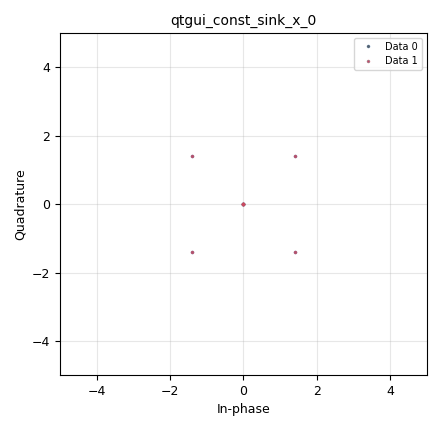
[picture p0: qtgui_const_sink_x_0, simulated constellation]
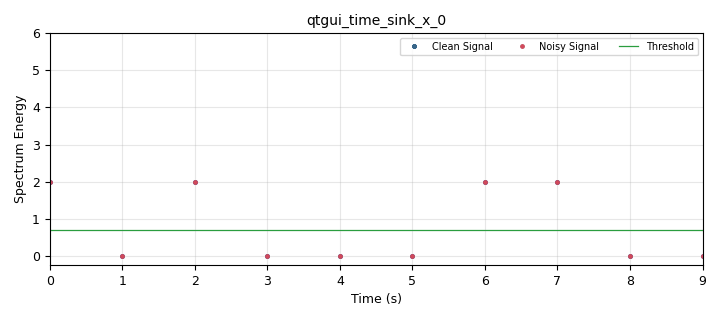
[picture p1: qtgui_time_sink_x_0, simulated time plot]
options:
  parameters:
    author: Osaze Shears
    generate_options: qt_gui
    id: dfr
    output_language: python
    title: Spectrum Energy
  states: {}

blocks:
- name: noise_level
  id: variable_qtgui_range
  parameters:
    label: Noise Level
    start: '0'
    step: '0.01'
    stop: '5'
    value: '0'
  states: {}
- name: qpsk_constellation
  id: variable_constellation
  parameters:
    const_points: '[-1-1j, -1+1j, 1+1j, 1-1j, 0,0,0,0]'
    dims: '1'
    normalization: digital.constellation.AMPLITUDE_NORMALIZATION
    precision: '8'
    rot_sym: '4'
    sym_map: '[0, 1, 3, 2, 4,5,6,7]'
    type: calcdist
  states: {}
- name: samp_rate
  id: variable
  parameters:
    value: '1'
  states: {}
- name: analog_const_source_x_0
  id: analog_const_source_x
  parameters:
    const: '0.705'
    type: float
  states: {}
- name: analog_noise_source_x_0
  id: analog_noise_source_x
  parameters:
    amp: noise_level
    noise_type: analog.GR_GAUSSIAN
    seed: '0'
    type: complex
  states: {}
- name: analog_random_source_x_0
  id: analog_random_source_x
  parameters:
    max: '8'
    min: '0'
    num_samps: '1000'
    repeat: 'True'
    type: byte
  states: {}
- name: blocks_add_xx_0
  id: blocks_add_xx
  parameters:
    type: complex
  states: {}
- name: digital_constellation_encoder_bc_1
  id: digital_constellation_encoder_bc
  parameters:
    constellation: qpsk_constellation
  states: {}
- name: epy_block_0
  id: epy_block
  parameters:
    Feedback_Scale: '0.4'
    Input_Gain: '0.5'
    Mask_Max: '0.5'
    Mask_Min: '-0.5'
    Mask_Type: '''Uniform'''
    Random_Seed: '0'
    Virtual_Nodes: '50'
    _source_code: |
      """
      Embedded Python Blocks:

      Each time this file is saved, GRC will instantiate the first class it finds
      to get ports and parameters of your block. The arguments to __init__  will
      be the parameters. All of them are required to have default values!
      """

      import numpy as np
      from gnuradio import gr


      class blk(gr.sync_block):  # other base classes are basic_block, decim_block, interp_block
          """DFR Block - Perform DFR Inference"""

          def __init__(self, Virtual_Nodes=50,Input_Gain=0.5,Feedback_Scale=0.4,Random_Seed=0,Mask_Min=-0.5,Mask_Max=0.5,Mask_Type="Uniform"):  # only default arguments here
              """arguments to this function show up as parameters in GRC"""
              gr.sync_block.__init__(
                  self,
                  name='DFR Block',   # will show up in GRC
                  in_sig=[np.complex64],
                  out_sig=[np.float32]
              )
              # if an attribute with the same name as a parameter is found,
              # a callback is registered (properties work, too).
              self.Virtual_Nodes = Virtual_Nodes
              self.seed = Random_Seed
              self.rng = np.random.default_rng(Random_Seed)
              self.N = Virtual_Nodes
              self.gamma = Input_Gain
              self.eta = Feedback_Scale
              self.LAST_NODE = self.N - 1
              self.reg = 1e-8
              self.reservoir = np.zeros(self.N)
              self.mask = self.rng.uniform(Mask_Min,Mask_Max,self.N)

              

          def work(self, input_items, output_items):
              """example: multiply with constant"""
              # output_items[0][:] = input_items[0] * self.multiply_const
              # print(input_items[0])

              ADC_MAX_SIGNED = 2**11


              i_data_norm = np.real(input_items[0])
              q_data_norm = np.imag(input_items[0])

              x = np.sqrt(np.power(i_data_norm,2) + np.power(q_data_norm,2))
              # y = ss_data[:,2]

              output_items[0][:] = x

              # mask generation
              # masked_samples = np.empty((num_samples,N))
              # for i in range(num_samples):
              #     masked_samples[i] = mask * x[i]

              # masked_sample = 

              # for j in range(N):

              #     g_i = mg(gamma * masked_samples[TRAIN_DATA_BEGIN + i][j] + eta * reservoir[LAST_NODE])
              #     reservoir[1:N] = reservoir[0:LAST_NODE]
              #     reservoir[0] = g_i



              # y_hat = reservoir_history.dot(W)


              return len(output_items[0])

          def mg(self,x):
              a = 2
              b = 0.8
              c = 0.2
              d = 2.1
              p = 10

              return (a * x) / (b + c * np.power( (d * x), p) )
  states: {state: disabled}
- name: epy_block_1
  id: epy_block
  parameters:
    _source_code: "\"\"\"\nEmbedded Python Blocks:\n\nEach time this file is saved, GRC will instantiate the first class it finds\nto get ports and parameters of your block. The arguments to __init__  will\nbe the parameters. All of them are required to have default values!\n\"\"\"\n\nimport numpy as np\nfrom gnuradio import gr\n\n\nclass blk(gr.sync_block):  # other base classes are basic_block, decim_block, interp_block\n    \"\"\"Spectrum Energy - Record Spectrum Energy\"\"\"\n\n    def __init__(self):  # only default arguments here\n        \"\"\"arguments to this function show up as parameters in GRC\"\"\"\n        gr.sync_block.__init__(\n            self,\n            name='Spectrum Energy Block',   # will show up in GRC\n            in_sig=[np.complex64],\n            out_sig=[np.float32]\n        )\n        \n\n        \n\n    def work(self, input_items, output_items):\n        \"\"\"example: multiply with constant\"\"\"\n\n        i_data_norm = np.real(input_items[0])\n        q_data_norm = np.imag(input_items[0])\n        x = np.sqrt(np.power(i_data_norm,2) + np.power(q_data_norm,2))\n        output_items[0][:] = x\n\n        return len(output_items[0])\n\n"
  states: {}
- name: epy_block_1_0
  id: epy_block
  parameters:
    _source_code: "\"\"\"\nEmbedded Python Blocks:\n\nEach time this file is saved, GRC will instantiate the first class it finds\nto get ports and parameters of your block. The arguments to __init__  will\nbe the parameters. All of them are required to have default values!\n\"\"\"\n\nimport numpy as np\nfrom gnuradio import gr\n\n\nclass blk(gr.sync_block):  # other base classes are basic_block, decim_block, interp_block\n    \"\"\"Spectrum Energy - Record Spectrum Energy\"\"\"\n\n    def __init__(self):  # only default arguments here\n        \"\"\"arguments to this function show up as parameters in GRC\"\"\"\n        gr.sync_block.__init__(\n            self,\n            name='Spectrum Energy Block',   # will show up in GRC\n            in_sig=[np.complex64],\n            out_sig=[np.float32]\n        )\n        \n\n        \n\n    def work(self, input_items, output_items):\n        \"\"\"example: multiply with constant\"\"\"\n\n        i_data_norm = np.real(input_items[0])\n        q_data_norm = np.imag(input_items[0])\n        x = np.sqrt(np.power(i_data_norm,2) + np.power(q_data_norm,2))\n        output_items[0][:] = x\n\n        return len(output_items[0])\n\n"
  states: {}
- name: qtgui_const_sink_x_0
  id: qtgui_const_sink_x
  parameters:
    nconnections: '2'
    size: '10'
    type: complex
    update_time: '3'
    xmax: '5'
    xmin: '-5'
    ymax: '5'
    ymin: '-5'
  states: {}
- name: qtgui_const_sink_x_0_0
  id: qtgui_const_sink_x
  parameters:
    size: '1024'
    type: complex
  states: {state: disabled}
- name: qtgui_time_sink_x_0
  id: qtgui_time_sink_x
  parameters:
    label1: Clean Signal
    label2: Noisy Signal
    label3: Threshold
    marker1: '0'
    marker2: '2'
    nconnections: '3'
    size: '10'
    srate: samp_rate
    style1: '0'
    style2: '0'
    style3: '2'
    type: float
    update_time: '3'
    width1: '3'
    width2: '3'
    width3: '3'
    ylabel: Spectrum Energy
    ymax: '6'
    ymin: '0'
  states: {}

connections:
- [analog_const_source_x_0, '0', qtgui_time_sink_x_0, '2']
- [analog_noise_source_x_0, '0', blocks_add_xx_0, '1']
- [analog_random_source_x_0, '0', digital_constellation_encoder_bc_1, '0']
- [blocks_add_xx_0, '0', epy_block_0, '0']
- [blocks_add_xx_0, '0', epy_block_1, '0']
- [blocks_add_xx_0, '0', qtgui_const_sink_x_0, '1']
- [digital_constellation_encoder_bc_1, '0', blocks_add_xx_0, '0']
- [digital_constellation_encoder_bc_1, '0', epy_block_1_0, '0']
- [digital_constellation_encoder_bc_1, '0', qtgui_const_sink_x_0, '0']
- [digital_constellation_encoder_bc_1, '0', qtgui_const_sink_x_0_0, '0']
- [epy_block_1, '0', qtgui_time_sink_x_0, '1']
- [epy_block_1_0, '0', qtgui_time_sink_x_0, '0']

metadata:
  file_format: 1
